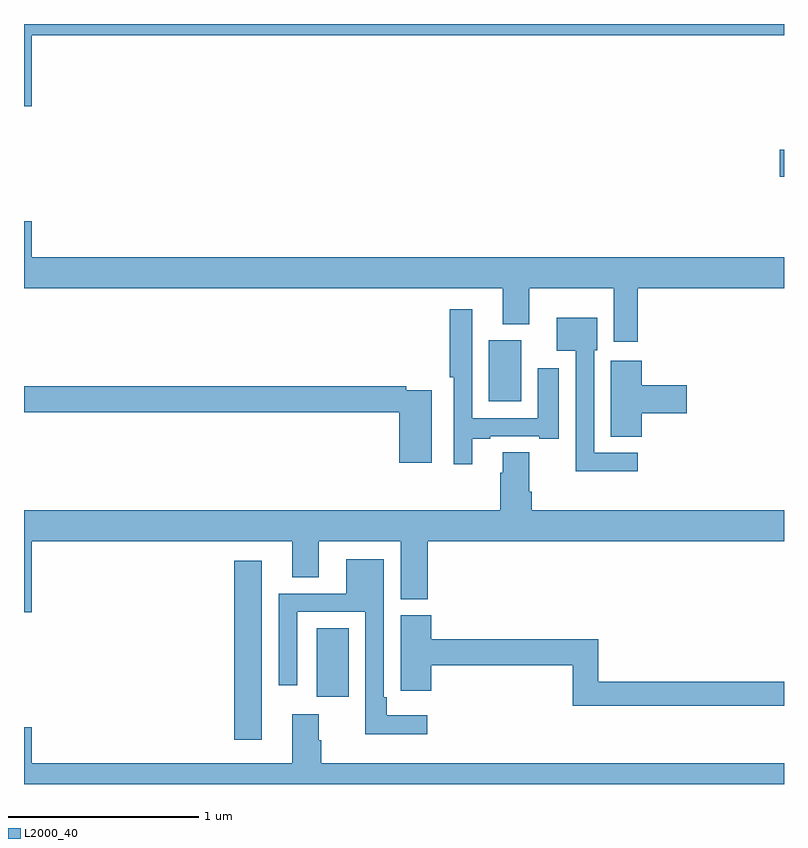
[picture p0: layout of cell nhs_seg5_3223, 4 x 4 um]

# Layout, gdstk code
import gdstk
lib = gdstk.Library(unit=1e-6, precision=1e-09)
def R(c, l, rs):  # rectangles x0, y0, x1, y1
    for r in rs: c.add(gdstk.rectangle(r[:2], r[2:], *l))
def P(c, l, *ps):  # polygons
    for p in ps: c.add(gdstk.Polygon(p, *l))
L2000_40 = (2000, 40)

nhs_seg5_3223 = lib.new_cell('nhs_seg5_3223')
R(nhs_seg5_3223, L2000_40, [(298.106,873.033,298.252,873.973), (298.541,873.258,298.708,873.62), (299.447,874.814,299.617,875.134), (300.978,875.995,301,876.137)])
P(nhs_seg5_3223, L2000_40, [(297.04,876.74),(301,876.74),(301,876.799),(297,876.799),(297,876.366),(297.04,876.366)],
  [(300.23,875.408),(301,875.408),(301,875.572),(297.04,875.572),(297.04,875.761),(297,875.761),(297,875.408),(299.519,875.408),(299.519,875.219),(299.659,875.219),(299.659,875.408),(300.104,875.408),(300.104,875.127),(300.23,875.127)],
  [(299.359,874.617),(299.455,874.617),(299.455,874.629),(299.711,874.629),(299.711,874.617),(299.815,874.617),(299.815,874.987),(299.705,874.987),(299.705,874.725),(299.358,874.725),(299.358,875.299),(299.242,875.299),(299.242,874.939),(299.262,874.939),(299.262,874.482),(299.359,874.482)],
  [(300.229,874.542),(300,874.542),(300,875.082),(300.016,875.082),(300.016,875.254),(299.804,875.254),(299.804,875.078),(299.904,875.078),(299.904,874.445),(300.229,874.445)],
  [(300.251,874.751),(300.487,874.751),(300.487,874.898),(300.251,874.898),(300.251,875.026),(300.089,875.026),(300.089,874.627),(300.251,874.627)],
  [(299.146,874.872),(299.012,874.872),(299.012,874.892),(297,874.892),(297,874.756),(298.976,874.756),(298.976,874.491),(299.146,874.491)],
  [(297.04,874.076),(298.412,874.076),(298.412,873.886),(298.552,873.886),(298.552,874.076),(298.982,874.076),(298.982,873.772),(299.126,873.772),(299.126,874.076),(301,874.076),(301,874.24),(299.672,874.24),(299.672,874.336),(299.659,874.336),(299.659,874.544),(299.519,874.544),(299.519,874.436),(299.507,874.436),(299.507,874.24),(297,874.24),(297,873.702),(297.04,873.702)],
  [(299.122,873.16),(298.909,873.16),(298.909,873.256),(298.893,873.256),(298.893,873.982),(298.697,873.982),(298.697,873.801),(298.341,873.801),(298.341,873.318),(298.437,873.318),(298.437,873.705),(298.797,873.705),(298.797,873.062),(299.122,873.062)],
  [(301,873.338),(300.023,873.338),(300.023,873.56),(299.144,873.56),(299.144,873.687),(298.982,873.687),(298.982,873.403),(298.983,873.403),(298.983,873.291),(299.144,873.291),(299.144,873.424),(299.887,873.424),(299.887,873.21),(301,873.21)],
  [(301,872.908),(298.565,872.908),(298.565,873.029),(298.552,873.029),(298.552,873.166),(298.412,873.166),(298.412,872.908),(297.04,872.908),(297.04,873.097),(297,873.097),(297,872.799),(301,872.799)])

lib.write_gds('nhs_seg5_3223.gds')
